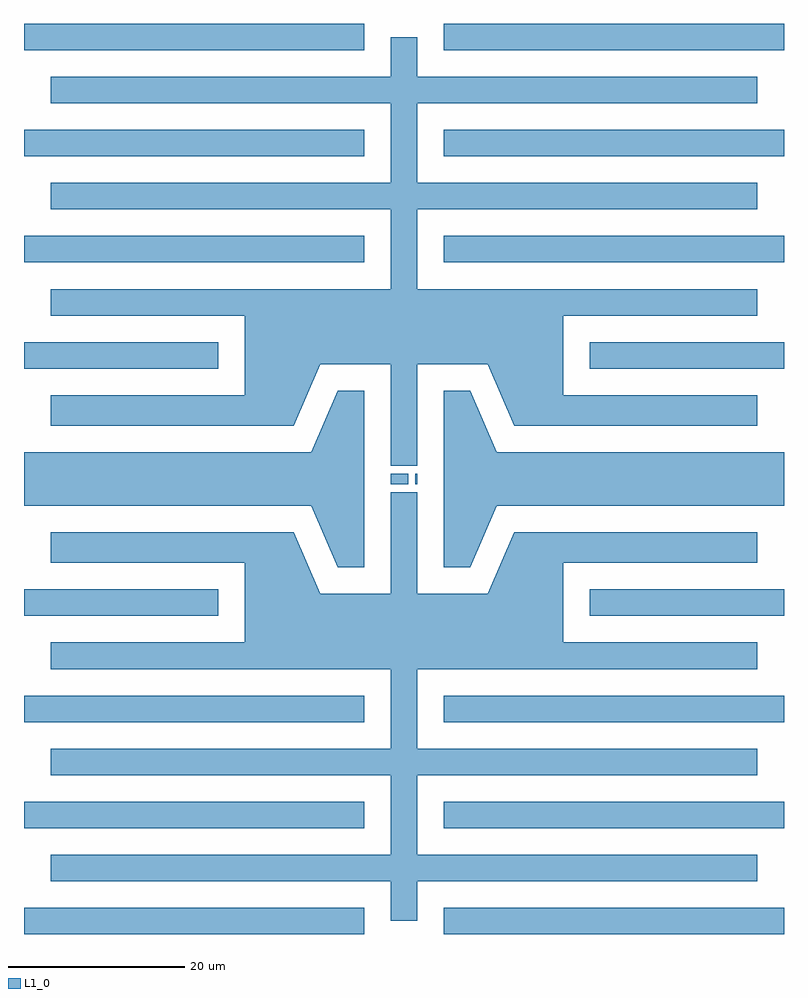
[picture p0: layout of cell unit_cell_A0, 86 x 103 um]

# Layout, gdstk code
from math import pi, radians
import gdstk
lib = gdstk.Library(unit=1e-6, precision=1e-09)
def R(c, l, rs):  # rectangles x0, y0, x1, y1
    for r in rs: c.add(gdstk.rectangle(r[:2], r[2:], *l))
def P(c, l, *ps):  # polygons
    for p in ps: c.add(gdstk.Polygon(p, *l))
L1_0 = (1, 0)

unnamed_402 = lib.new_cell('Unnamed_402')
P(unnamed_402, L1_0, [(38.5,0),(38.5,4.5),(0,4.5),(0,7.5),(38.5,7.5),(38.5,16.5),(0,16.5),(0,19.5),(38.5,19.5),(38.5,28.5),(0,28.5),(0,31.5),(22,31.5),(22,40.5),(0,40.5),(0,44),(27.522,44),(30.522,37),(38.5,37),(38.5,48.5),(40,48.5),(40,0)])

straight_l38p5_n2_csxs_e = lib.new_cell('straight_L38p5_N2_CSxs_e9659eb0')
R(straight_l38p5_n2_csxs_e, L1_0, [(0,-1.5,38.5,1.5)])

straight_array_n3_s9_l3_ = lib.new_cell('straight_array_N3_S9_L3_b91b2c6a')
straight_array_n3_s9_l3_.add(gdstk.Reference(straight_l38p5_n2_csxs_e, (0,0)))
straight_array_n3_s9_l3_.add(gdstk.Reference(straight_l38p5_n2_csxs_e, (0,12)))
straight_array_n3_s9_l3_.add(gdstk.Reference(straight_l38p5_n2_csxs_e, (0,24)))

straight_l22_n2_csxs_e96 = lib.new_cell('straight_L22_N2_CSxs_e9659eb0')
R(straight_l22_n2_csxs_e96, L1_0, [(0,-1.5,22,1.5)])

unnamed_397 = lib.new_cell('Unnamed_397')
unnamed_397.add(gdstk.Reference(straight_array_n3_s9_l3_, (-3,0)))
unnamed_397.add(gdstk.Reference(straight_l22_n2_csxs_e96, (-3,36)))

straight_l32p5_n2_csxs_4 = lib.new_cell('straight_L32p5_N2_CSxs_41e8578a')
R(straight_l32p5_n2_csxs_4, L1_0, [(0,-3,32.5,3)])

triangle_x10_x3_y6_y3_l1 = lib.new_cell('triangle_X10_X3_Y6_Y3_L1_0')
P(triangle_x10_x3_y6_y3_l1, L1_0, [(0,0),(0,6),(3,6),(10,3),(10,0)])

unnamed_400 = lib.new_cell('Unnamed_400')
unnamed_400.add(gdstk.Reference(straight_l32p5_n2_csxs_4, (-3,50)))
unnamed_400.add(gdstk.Reference(triangle_x10_x3_y6_y3_l1, (35.5,50), rotation=3*pi/2, x_reflection=True))

unnamed_403 = lib.new_cell('Unnamed_403')
unnamed_403.add(gdstk.Reference(unnamed_402, (0,0)))
unnamed_403.add(gdstk.Reference(unnamed_397, (0,0)))
unnamed_403.add(gdstk.Reference(unnamed_400, (0,0)))

rectangle_s2_0p6_lwg_cf_ = lib.new_cell('rectangle_S2_0p6_LWG_CF_a6a46f17')
R(rectangle_s2_0p6_lwg_cf_, L1_0, [(0,0,2,0.6)])

rectangle_s0p2_1p2_lwg__ = lib.new_cell('rectangle_S0p2_1p2_LWG__107b6a9b')
R(rectangle_s0p2_1p2_lwg__, L1_0, [(0,0,0.2,1.2)])

unnamed_404 = lib.new_cell('Unnamed_404')
unnamed_404.add(gdstk.Reference(rectangle_s2_0p6_lwg_cf_, (0,0)))
unnamed_404.add(gdstk.Reference(rectangle_s0p2_1p2_lwg__, (2.8,-0.6)))

unit_cell_a0 = lib.new_cell('unit_cell_A0')
unit_cell_a0.add(gdstk.Reference(unnamed_403, (0,0)))
unit_cell_a0.add(gdstk.Reference(unnamed_403, (80,0), rotation=pi, x_reflection=True))
unit_cell_a0.add(gdstk.Reference(unnamed_403, (0,100), x_reflection=True))
unit_cell_a0.add(gdstk.Reference(unnamed_403, (80,100), rotation=pi))
unit_cell_a0.add(gdstk.Reference(unnamed_404, (38.5,50)))
unit_cell_a0.add(gdstk.Reference(unnamed_404, (38.5,50), x_reflection=True))

lib.write_gds('unit_cell_A0.gds')
